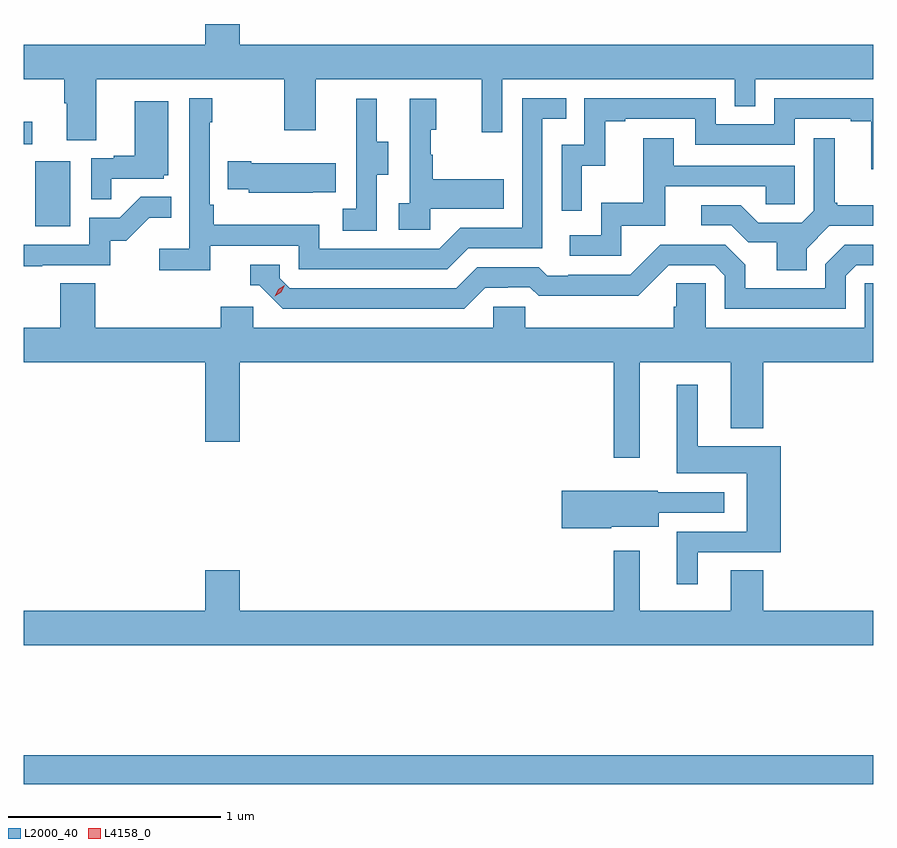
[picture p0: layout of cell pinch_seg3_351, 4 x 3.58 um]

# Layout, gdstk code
import gdstk
lib = gdstk.Library(unit=1e-6, precision=1e-09)
def R(c, l, rs):  # rectangles x0, y0, x1, y1
    for r in rs: c.add(gdstk.rectangle(r[:2], r[2:], *l))
def P(c, l, *ps):  # polygons
    for p in ps: c.add(gdstk.Polygon(p, *l))
L2000_40 = (2000, 40)
L4158_0 = (4158, 0)

pinch_seg3_351 = lib.new_cell('pinch_seg3_351')
R(pinch_seg3_351, L2000_40, [(967.35,701.596,971.35,701.732), (967.406,704.22,967.57,704.527), (967.35,704.607,967.39,704.713)])
P(pinch_seg3_351, L2000_40, [(967.693,704.912),(968.578,704.912),(968.578,704.673),(968.725,704.673),(968.725,704.912),(969.506,704.912),(969.506,704.664),(969.603,704.664),(969.603,704.912),(970.698,704.912),(970.698,704.785),(970.794,704.785),(970.794,704.912),(971.35,704.912),(971.35,705.076),(968.368,705.076),(968.368,705.173),(968.204,705.173),(968.204,705.076),(967.35,705.076),(967.35,704.912),(967.541,704.912),(967.541,704.8),(967.553,704.8),(967.553,704.626),(967.693,704.626)],
  [(968.228,704.13),(968.646,704.13),(968.646,704.019),(969.343,704.019),(969.442,704.118),(969.792,704.118),(969.792,704.727),(969.905,704.727),(969.905,704.823),(969.696,704.823),(969.696,704.214),(969.405,704.214),(969.306,704.115),(968.742,704.115),(968.742,704.227),(968.246,704.227),(968.246,704.323),(968.226,704.323),(968.226,704.711),(968.239,704.711),(968.239,704.824),(968.13,704.824),(968.13,704.116),(967.989,704.116),(967.989,704.014),(968.228,704.014)],
  [(969.978,704.507),(970.088,704.507),(970.088,704.715),(970.183,704.715),(970.183,704.727),(970.512,704.727),(970.512,704.604),(970.98,704.604),(970.98,704.727),(971.243,704.727),(971.243,704.715),(971.339,704.715),(971.339,704.489),(971.35,704.489),(971.35,704.823),(970.884,704.823),(970.884,704.7),(970.608,704.7),(970.608,704.823),(969.99,704.823),(969.99,704.604),(969.882,704.604),(969.882,704.295),(969.978,704.295)],
  [(969.012,704.464),(969.067,704.464),(969.067,704.619),(969.013,704.619),(969.013,704.821),(968.915,704.821),(968.915,704.607),(968.916,704.607),(968.916,704.303),(968.853,704.303),(968.853,704.2),(969.012,704.2)],
  [(969.264,704.303),(969.611,704.303),(969.611,704.443),(969.277,704.443),(969.277,704.558),(969.267,704.558),(969.267,704.676),(969.292,704.676),(969.292,704.821),(969.168,704.821),(969.168,704.33),(969.117,704.33),(969.117,704.205),(969.264,704.205)],
  [(967.763,704.445),(968.01,704.445),(968.01,704.46),(968.032,704.46),(968.032,704.809),(967.874,704.809),(967.874,704.554),(967.775,704.554),(967.775,704.541),(967.668,704.541),(967.668,704.347),(967.763,704.347)],
  [(971.035,704.116),(971.142,704.223),(971.35,704.223),(971.35,704.32),(971.179,704.32),(971.179,704.332),(971.167,704.332),(971.167,704.635),(971.07,704.635),(971.07,704.295),(971.013,704.238),(970.807,704.238),(970.726,704.319),(970.539,704.319),(970.539,704.226),(970.68,704.226),(970.76,704.146),(970.895,704.146),(970.895,704.014),(971.035,704.014)],
  [(970.164,704.223),(970.369,704.223),(970.369,704.409),(970.843,704.409),(970.843,704.325),(970.98,704.325),(970.98,704.505),(970.411,704.505),(970.411,704.635),(970.267,704.635),(970.267,704.332),(970.068,704.332),(970.068,704.178),(969.921,704.178),(969.921,704.082),(970.164,704.082)],
  [(968.711,704.381),(968.819,704.381),(968.819,704.518),(968.422,704.518),(968.422,704.526),(968.311,704.526),(968.311,704.396),(968.409,704.396),(968.409,704.378),(968.711,704.378)],
  [(967.439,704.037),(967.758,704.037),(967.758,704.154),(967.834,704.154),(967.941,704.261),(968.045,704.261),(968.045,704.36),(967.901,704.36),(967.803,704.262),(967.659,704.262),(967.659,704.133),(967.35,704.133),(967.35,704.032),(967.439,704.032)],
  [(969.523,703.932),(969.63,703.932),(969.63,703.935),(969.733,703.935),(969.775,703.893),(970.008,703.893),(970.008,703.895),(970.244,703.895),(970.386,704.037),(970.602,704.037),(970.65,703.989),(970.65,703.833),(971.22,703.833),(971.22,703.989),(971.268,704.037),(971.35,704.037),(971.35,704.133),(971.214,704.133),(971.124,704.043),(971.124,703.929),(970.747,703.929),(970.747,704.039),(970.653,704.133),(970.347,704.133),(970.206,703.992),(969.913,703.992),(969.913,703.989),(969.814,703.989),(969.775,704.028),(969.486,704.028),(969.387,703.929),(968.604,703.929),(968.556,703.977),(968.556,704.04),(968.417,704.04),(968.417,703.944),(968.46,703.944),(968.571,703.833),(969.424,703.833)],
  [(970.249,703.58),(970.679,703.58),(970.679,703.271),(970.832,703.271),(970.832,703.58),(971.35,703.58),(971.35,703.952),(971.31,703.952),(971.31,703.744),(970.56,703.744),(970.56,703.952),(970.423,703.952),(970.423,703.842),(970.409,703.842),(970.409,703.744),(969.711,703.744),(969.711,703.842),(969.561,703.842),(969.561,703.744),(968.43,703.744),(968.43,703.842),(968.279,703.842),(968.279,703.744),(967.688,703.744),(967.688,703.952),(967.523,703.952),(967.523,703.744),(967.35,703.744),(967.35,703.58),(968.204,703.58),(968.204,703.206),(968.368,703.206),(968.368,703.58),(970.128,703.58),(970.128,703.131),(970.249,703.131)],
  [(970.522,702.687),(970.913,702.687),(970.913,703.186),(970.522,703.186),(970.522,703.474),(970.424,703.474),(970.424,703.058),(970.754,703.058),(970.754,702.783),(970.424,702.783),(970.424,702.537),(970.522,702.537)],
  [(970.116,702.806),(970.339,702.806),(970.339,702.873),(970.648,702.873),(970.648,702.969),(970.335,702.969),(970.335,702.977),(969.882,702.977),(969.882,702.799),(970.116,702.799)],
  [(971.35,702.412),(970.832,702.412),(970.832,702.602),(970.679,702.602),(970.679,702.412),(970.249,702.412),(970.249,702.694),(970.128,702.694),(970.128,702.412),(968.368,702.412),(968.368,702.601),(968.204,702.601),(968.204,702.412),(967.35,702.412),(967.35,702.248),(971.35,702.248)])
P(pinch_seg3_351, L4158_0, [(968.532,703.892),(968.532,703.892),(968.548,703.924),(968.579,703.943),(968.58,703.943),(968.58,703.943),(968.563,703.911),(968.532,703.892)])

lib.write_gds('pinch_seg3_351.gds')
